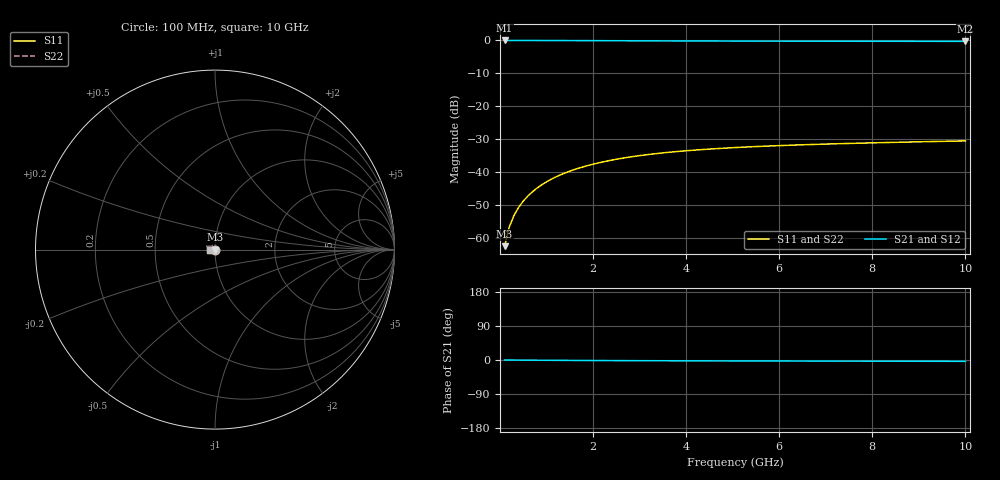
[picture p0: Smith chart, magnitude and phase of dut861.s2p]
! Touchstone file exported from HFSS 2024.1.0
!  File:  C:/UserFiles/LocalFiles/RDL_TSV_Batchsim/temp_TSV1_861_1779881891.aedt
!  Generated:  07:45:14 PM May 27, 2026
!  Design:  TSV1
!  Project:  temp_TSV1_861_1779881891
!  Setup:  Setup1
!  Solution:  Sweep
! Variables:
!  dtsv = 8.14um
!  hbump = 3um
!  htsv = 53.53um
!  lrdl = 252.1521522um
!  p = 40
!  p1 = 40.42um
!  t = 500um
!  trdl = 3um
!  wrdl = 24.89489489um
# GHz S MA R 50.000000
! Terminal data exported
! Port[1] = TSV22_T1
! Port[2] = TSV22_T2
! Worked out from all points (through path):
!   100 points, 100 MHz to 10 GHz, reference 50 ohm
!   highest |S21| = 0.00 dB at 100 MHz (marker M1); lowest = -0.3 dB at 10 GHz (marker M2)
!   lowest |S11| = -62.6 dB at 100 MHz (marker M3), VSWR 1.00, Z = 50 - j0.0727 ohm
!   |S11| at or under -10 dB: start of sweep to end of sweep
!   |S22| runs from -62.6 to -30.6 dB; largest |S21 - S12| = 1.1e-14
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0.1  0.0007435 -77.9  0.9998 -0.1  0.9998 -0.1  0.0007435 -77.9
! Gamma 0 0 0 0
! Port Impedance 50 0 50 0
0.2  0.001454 -86.4  0.9997 -0.2  0.9997 -0.2  0.001454 -86.4
0.3  0.002171 -90.4  0.9996 -0.2  0.9996 -0.2  0.002171 -90.4
0.4  0.002886 -93.2  0.9995 -0.3  0.9995 -0.3  0.002886 -93.2
0.5  0.003599 -95.6  0.9993 -0.4  0.9993 -0.4  0.003599 -95.6
0.6  0.004307 -97.7  0.999 -0.5  0.999 -0.5  0.004307 -97.7
0.7  0.005009 -99.6  0.9987 -0.5  0.9987 -0.5  0.005009 -99.6
0.8  0.005704 -101.5  0.9984 -0.6  0.9984 -0.6  0.005704 -101.5
0.9  0.00639 -103.2  0.9981 -0.7  0.9981 -0.7  0.00639 -103.2
1.1  0.007733 -106.6  0.9973 -0.8  0.9973 -0.8  0.007733 -106.6
1.4  0.009656 -111.3  0.9959 -1.0  0.9959 -1.0  0.009656 -111.3
1.6  0.01087 -114.3  0.995 -1.1  0.995 -1.1  0.01087 -114.3
1.8  0.01203 -117.2  0.9939 -1.3  0.9939 -1.3  0.01203 -117.2
2.1  0.01365 -121.3  0.9923 -1.4  0.9923 -1.4  0.01365 -121.3
2.5  0.01559 -126.4  0.9902 -1.6  0.9902 -1.6  0.01559 -126.4
2.9  0.01731 -131.1  0.988 -1.8  0.988 -1.8  0.01731 -131.1
3.4  0.01916 -136.5  0.9855 -2.0  0.9855 -2.0  0.01916 -136.5
4.2  0.02154 -144.1  0.9819 -2.2  0.9819 -2.2  0.02154 -144.1
5.1  0.02358 -151.3  0.9785 -2.4  0.9785 -2.4  0.02358 -151.3
6.7  0.02616 -161.7  0.974 -2.8  0.974 -2.8  0.02616 -161.7
8.4  0.02812 -170.5  0.9708 -3.2  0.9708 -3.2  0.02812 -170.5
10  0.02967 -177.5  0.9687 -3.6  0.9687 -3.6  0.02967 -177.5
